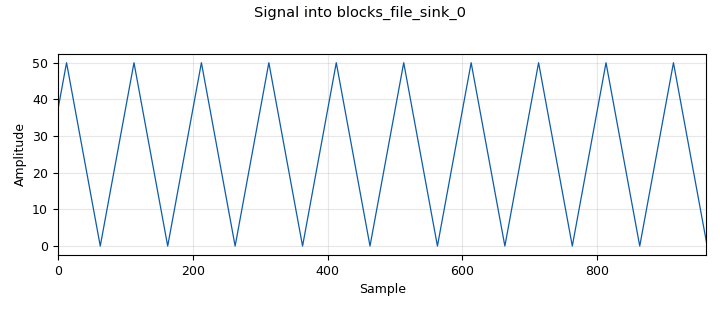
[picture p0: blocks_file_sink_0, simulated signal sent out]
options:
  parameters:
    generate_options: qt_gui
    id: integer_ramp
    output_language: python
    title: Integer Ramp
  states: {}

blocks:
- name: pi
  id: variable
  parameters:
    value: '3.1415926535897932384626433832795028841'
  states: {}
- name: samp_rate
  id: variable
  parameters:
    value: '100'
  states: {}
- name: analog_sig_source_x_0
  id: analog_sig_source_x
  parameters:
    amp: samp_rate/2
    freq: '1'
    offset: '0'
    phase: pi
    samp_rate: samp_rate
    type: float
    waveform: analog.GR_TRI_WAVE
  states: {}
- name: blocks_file_sink_0
  id: blocks_file_sink
  parameters:
    file: integer_ramp.bin
    type: int
  states: {}
- name: blocks_float_to_int_0
  id: blocks_float_to_int
  parameters:
    scale: '1'
  states: {}
- name: blocks_throttle_0
  id: blocks_throttle
  parameters:
    samples_per_second: samp_rate
    type: int
  states: {}
- name: note_0
  id: note
  parameters:
    comment: |-
      Example to generate a integer ramp.
      The key is to define a triangle wave of amplitude sample_rate/2 with frequency of once a second.
      This makes it match up to an integer value when sampled.
      Note that the sample rate has to divide evenly by 2 to make this works.
      Set the initial phase of the triangle to be 180 degrees to make it start from zero instead of the max.
  states: {}

connections:
- [analog_sig_source_x_0, '0', blocks_float_to_int_0, '0']
- [blocks_float_to_int_0, '0', blocks_throttle_0, '0']
- [blocks_throttle_0, '0', blocks_file_sink_0, '0']

metadata:
  file_format: 1
